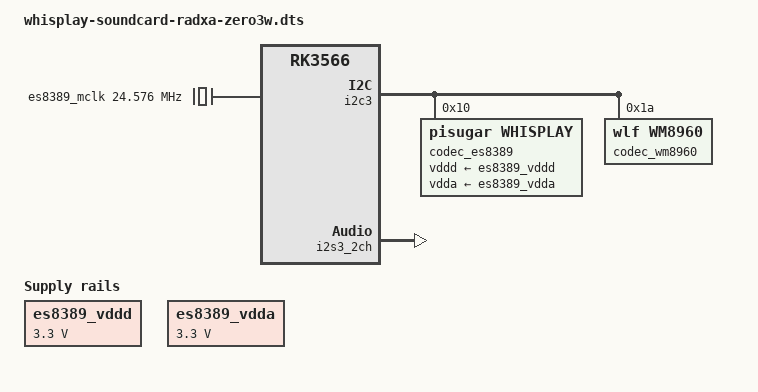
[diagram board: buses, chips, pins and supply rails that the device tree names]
/*
 * Device Tree overlay for Whisplay unified sound card on Radxa ZERO 3W.
 *
 * WM8960 or ES8389 is connected to the 40-pin header:
 *   PIN_3  SDA  -> I2C3_SDA_M0
 *   PIN_5  SCL  -> I2C3_SCL_M0
 *   PIN_12 BCLK -> I2S3_SCLK_M0
 *   PIN_35 LRCK -> I2S3_LRCK_RX_M0
 *   PIN_38 SDI  -> I2S3_SDI_M0
 *   PIN_40 SDO  -> I2S3_SDO_M0
 */

/dts-v1/;
/plugin/;

/ {
	compatible = "rockchip,rk3566";

	fragment@0 {
		target-path = "/";
		__overlay__ {
			es8389_mclk: es8389-mclk {
				compatible = "fixed-clock";
				#clock-cells = <0>;
				clock-frequency = <24576000>;
				clock-output-names = "es8389-mclk";
			};

			es8389_vddd: es8389-vddd {
				compatible = "regulator-fixed";
				regulator-name = "es8389-vddd";
				regulator-min-microvolt = <3300000>;
				regulator-max-microvolt = <3300000>;
				regulator-boot-on;
				regulator-always-on;
			};

			es8389_vdda: es8389-vdda {
				compatible = "regulator-fixed";
				regulator-name = "es8389-vdda";
				regulator-min-microvolt = <3300000>;
				regulator-max-microvolt = <3300000>;
				regulator-boot-on;
				regulator-always-on;
			};
		};
	};

	fragment@1 {
		target = <&i2c3>;
		__overlay__ {
			status = "okay";
			#address-cells = <1>;
			#size-cells = <0>;

			codec_es8389: whisplay@10 {
				compatible = "pisugar,whisplay";
				reg = <0x10>;
				#sound-dai-cells = <0>;
				clocks = <&es8389_mclk>;
				clock-names = "mclk";
				vddd-supply = <&es8389_vddd>;
				vdda-supply = <&es8389_vdda>;
				everest,mclk-src = /bits/ 8 <0x40>;
			};

			codec_wm8960: wm8960@1a {
				compatible = "wlf,wm8960";
				reg = <0x1a>;
				#sound-dai-cells = <0>;
				wlf,shared-lrclk;
			};
		};
	};

	fragment@2 {
		target = <&i2s3_2ch>;
		__overlay__ {
			status = "okay";
			rockchip,clk-trcm = <1>;
			pinctrl-names = "default";
			pinctrl-0 = <&i2s3m0_sclk
				     &i2s3m0_lrck
				     &i2s3m0_sdi
				     &i2s3m0_sdo>;
		};
	};

	fragment@3 {
		target-path = "/";
		__overlay__ {
			sound {
				compatible = "pisugar,whisplay-soundcard";
				i2s-controller = <&i2s3_2ch>;
				whisplay,es8389-codec = <&codec_es8389>;
				whisplay,es8389-mclk-fs = <512>;
				whisplay,wm8960-codec = <&codec_wm8960>;
				whisplay,wm8960-sysclk = <12288000>;
				whisplay,wm8960-mclk-fs = <256>;
				whisplay,no-continuous-clock;
				status = "okay";
			};
		};
	};
};
